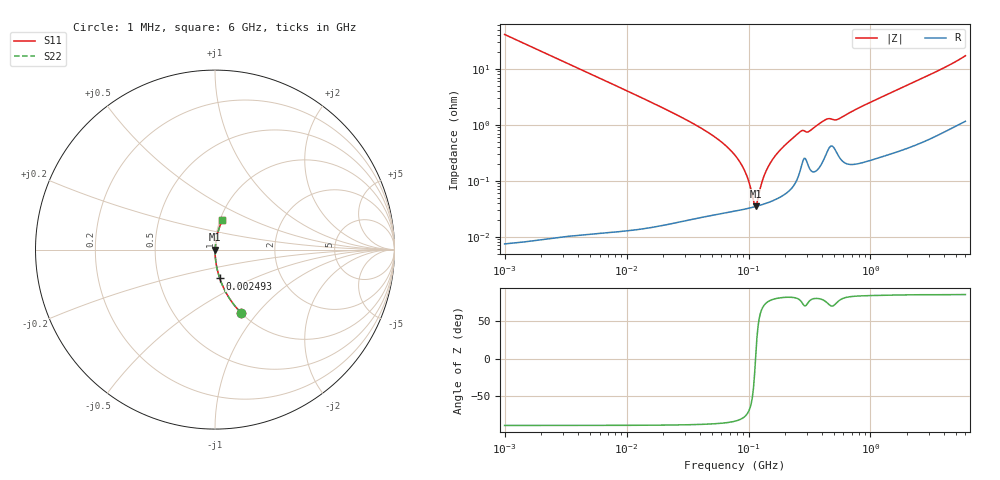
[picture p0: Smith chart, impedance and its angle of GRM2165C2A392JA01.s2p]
!Murata Part Number: GRM2165C2A392JA01
!These Parameters are Measured in Series Mode Connection
!Data Generated on Mar 30, 2021
!  o--ll--o
!Port1  Port2
!  o------o
!Operation Temp=25[degC], DC Bias Voltage=0[V]
!Freq. Start=1000[kHz] Stop=6[GHz] 401[Steps]
# Hz S RI R 50
!Freq.(Hz) S11(Real) S11(Imag) S21(Real) S21(Imag) S12(Real) S12(Imag) S22(Real) S22(Imag)
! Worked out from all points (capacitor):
!   401 points, 1 MHz to 6 GHz, reference 50 ohm
!   read as one part in series: C = 3.87 nF near 1.044 MHz
!   lowest |Z| = 34.9 mohm at 114.6 MHz (marker M1)
!   series resonance near 114.2 MHz, so ESL is about 500 pH
!   S11 on the Smith chart (normalised r, x): 1 MHz: 1.00, -0.82; 2.493 MHz: 1.00, -0.33; 6 GHz: 1.02, +0.34
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1000000  0.145 -0.352  0.855 0.352  0.855 0.352  0.145 -0.352
2492906  0.0266 -0.1607  0.9734 0.1607  0.9734 0.1607  0.0266 -0.1607
4293785  0.00919 -0.0948  0.9908 0.0948  0.9908 0.0948  0.00919 -0.0948
1.843659e7  0.000625 -0.0217  0.9994 0.0217  0.9994 0.0217  0.000625 -0.0217
4.697123e7  0.000287 -0.00723  0.9997 0.00723  0.9997 0.00723  0.000287 -0.00723
6.23192e7  0.000284 -0.0046  0.9997 0.0046  0.9997 0.0046  0.000284 -0.0046
7.745967e7  0.000295 -0.00285  0.9997 0.00285  0.9997 0.00285  0.000295 -0.00285
9.420718e7  0.000315 -0.00139  0.9997 0.00139  0.9997 0.00139  0.000315 -0.00139
1.005588e8  0.000324 -0.000913  0.9997 0.000913  0.9997 0.000913  0.000324 -0.000913
1.096987e8  0.000339 -0.000287  0.9997 0.000287  0.9997 0.000287  0.000339 -0.000287
1.145757e8  0.000348 2.5e-05  0.9997 -2.5e-05  0.9997 -2.5e-05  0.000348 2.5e-05
1.196694e8  0.000357 0.000338  0.9996 -0.000338  0.9996 -0.000338  0.000357 0.000338
1.277378e8  0.000373 0.000809  0.9996 -0.000809  0.9996 -0.000809  0.000373 0.000809
1.363501e8  0.000391 0.00128  0.9996 -0.00128  0.9996 -0.00128  0.000391 0.00128
1.487431e8  0.000421 0.00193  0.9996 -0.00193  0.9996 -0.00193  0.000421 0.00193
1.658303e8  0.000469 0.00277  0.9995 -0.00277  0.9995 -0.00277  0.000469 0.00277
2.618284e8  0.00144 0.00722  0.9986 -0.00722  0.9986 -0.00722  0.00144 0.00722
3.325952e8  0.00153 0.00826  0.9985 -0.00826  0.9985 -0.00826  0.00153 0.00826
4.31778e8  0.00309 0.0121  0.9969 -0.0121  0.9969 -0.0121  0.00309 0.0121
5.484786e8  0.0029 0.0124  0.9971 -0.0124  0.9971 -0.0124  0.0029 0.0124
1.428092e9  0.00425 0.0359  0.9958 -0.0359  0.9958 -0.0359  0.00425 0.0359
6e9  0.039 0.1629  0.961 -0.1629  0.961 -0.1629  0.039 0.1629
